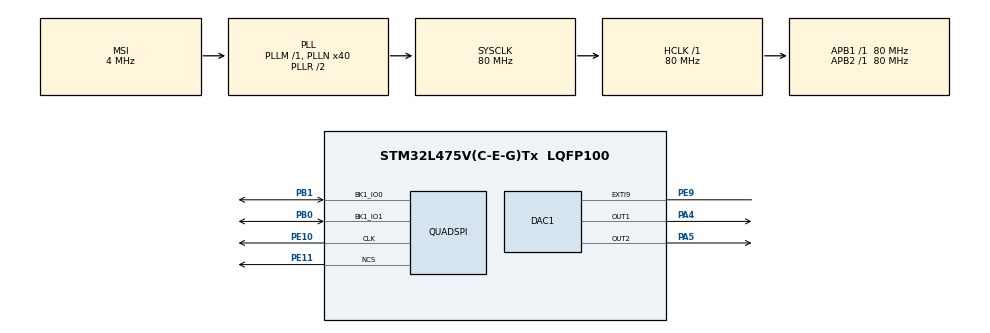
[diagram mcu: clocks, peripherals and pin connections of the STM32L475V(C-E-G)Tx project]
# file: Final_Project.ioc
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DAC1.DAC_Channel-DAC_OUT2_ExtAndInt=DAC_CHANNEL_2
DAC1.DAC_Trigger-DAC_OUT1_ExtAndInt=DAC_TRIGGER_T6_TRGO
DAC1.DAC_Trigger-DAC_OUT2_ExtAndInt=DAC_TRIGGER_T6_TRGO
Dma.DAC_CH1.0.Direction=DMA_MEMORY_TO_PERIPH
Dma.DAC_CH1.0.Instance=DMA1_Channel3
Dma.DAC_CH1.0.MemDataAlignment=DMA_MDATAALIGN_HALFWORD
Dma.DAC_CH1.0.MemInc=DMA_MINC_ENABLE
Dma.DAC_CH1.0.Mode=DMA_CIRCULAR
Dma.DAC_CH1.0.PeriphDataAlignment=DMA_PDATAALIGN_HALFWORD
Dma.DAC_CH1.0.PeriphInc=DMA_PINC_DISABLE
Dma.DAC_CH1.0.Priority=DMA_PRIORITY_LOW
Dma.DAC_CH2.1.Direction=DMA_MEMORY_TO_PERIPH
Dma.DAC_CH2.1.Instance=DMA1_Channel4
Dma.DAC_CH2.1.MemDataAlignment=DMA_MDATAALIGN_HALFWORD
Dma.DAC_CH2.1.MemInc=DMA_MINC_ENABLE
Dma.DAC_CH2.1.Mode=DMA_CIRCULAR
Dma.DAC_CH2.1.PeriphDataAlignment=DMA_PDATAALIGN_HALFWORD
Dma.DAC_CH2.1.PeriphInc=DMA_PINC_DISABLE
Dma.DAC_CH2.1.Priority=DMA_PRIORITY_LOW
Dma.QUADSPI.2.Direction=DMA_PERIPH_TO_MEMORY
Dma.QUADSPI.2.Instance=DMA1_Channel5
Dma.QUADSPI.2.MemDataAlignment=DMA_MDATAALIGN_WORD
Dma.QUADSPI.2.MemInc=DMA_MINC_ENABLE
Dma.QUADSPI.2.Mode=DMA_NORMAL
Dma.QUADSPI.2.PeriphDataAlignment=DMA_PDATAALIGN_WORD
Dma.QUADSPI.2.PeriphInc=DMA_PINC_DISABLE
Dma.QUADSPI.2.Priority=DMA_PRIORITY_LOW
Dma.Request0=DAC_CH1
Dma.Request1=DAC_CH2
Dma.Request2=QUADSPI
Mcu.Family=STM32L4
Mcu.Name=STM32L475V(C-E-G)Tx
Mcu.Package=LQFP100
NVIC.DMA1_Channel3_IRQn=true\:0\:0\:false\:false\:true\:false\:true
NVIC.DMA1_Channel4_IRQn=true\:0\:0\:false\:false\:true\:false\:true
NVIC.DMA1_Channel5_IRQn=true\:0\:0\:false\:false\:true\:false\:true
NVIC.EXTI9_5_IRQn=true\:0\:0\:false\:false\:true\:true\:true
NVIC.PriorityGroup=NVIC_PRIORITYGROUP_4
NVIC.QUADSPI_IRQn=true\:0\:0\:false\:false\:true\:true\:true
NVIC.TIM6_DAC_IRQn=true\:0\:0\:false\:false\:true\:true\:true
PA4.Signal=COMP_DAC11_group
PA5.Signal=COMP_DAC12_group
PB0.Mode=Single Bank 2IOs
PB0.Signal=QUADSPI_BK1_IO1
PB1.Mode=Single Bank 2IOs
PB1.Signal=QUADSPI_BK1_IO0
PE10.Mode=Single Bank 2IOs
PE10.Signal=QUADSPI_CLK
PE11.Mode=Single Bank 2IOs
PE11.Signal=QUADSPI_NCS
PE9.Signal=GPXTI9
ProjectManager.HeapSize=0x200
ProjectManager.StackSize=0x400
ProjectManager.TargetToolchain=MDK-ARM V5
QUADSPI.ClockPrescaler-Single\ Bank\ 2IOs=0
QUADSPI.FifoThreshold-Single\ Bank\ 2IOs=2
QUADSPI.FlashSize-Single\ Bank\ 2IOs=22
RCC.ADCFreq_Value=16000000
RCC.AHBFreq_Value=80000000
RCC.APB1Freq_Value=80000000
RCC.APB1TimFreq_Value=80000000
RCC.APB2Freq_Value=80000000
RCC.APB2TimFreq_Value=80000000
RCC.CortexFreq_Value=80000000
RCC.HCLKFreq_Value=80000000
RCC.HSE_VALUE=8000000
RCC.HSI_VALUE=16000000
RCC.LSE_VALUE=32768
RCC.MSI_VALUE=4000000
RCC.PLLN=40
RCC.SYSCLKFreq_VALUE=80000000
RCC.SYSCLKSource=RCC_SYSCLKSOURCE_PLLCLK
RCC.USBFreq_Value=16000000
RCC.VCOOutputFreq_Value=160000000
SH.COMP_DAC11_group.0=DAC1_OUT1,DAC_OUT1_ExtAndInt
SH.COMP_DAC12_group.0=DAC1_OUT2,DAC_OUT2_ExtAndInt
TIM6.Period=5000
TIM6.TIM_MasterOutputTrigger=TIM_TRGO_UPDATE
VP_TIM6_VS_ClockSourceINT.Mode=Enable_Timer
board=custom

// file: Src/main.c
/* USER CODE BEGIN Header */
/**
  ******************************************************************************
  * @file           : main.c
  * @brief          : Main program body
  ******************************************************************************
  * @attention
  *
  * <h2><center>&copy; Copyright (c) 2019 STMicroelectronics.
  * All rights reserved.</center></h2>
  *
  * This software component is licensed by ST under BSD 3-Clause license,
  * the "License"; You may not use this file except in compliance with the
  * License. You may obtain a copy of the License at:
  *                        opensource.org/licenses/BSD-3-Clause
  *
  ******************************************************************************
  */
/* USER CODE END Header */

#include "main.h"

/* USER CODE BEGIN Includes */

#include "stm32l475e_iot01_qspi.h"
#include "arm_math.h"
#include <stdlib.h>
/* USER CODE END Includes */

/* USER CODE BEGIN PD */

int i;

//buffers
uint16_t audioBufferLeft[1000];
uint16_t audioBufferRight[1000];

// ############
// matrices
float matrixBuffer[AUDIO_SAMPLE_SIZE];
arm_matrix_instance_f32 matrix;

float matrix2Buffer[AUDIO_SAMPLE_SIZE];
arm_matrix_instance_f32 matrix2;

float transposeMatrixBuffer[AUDIO_SAMPLE_SIZE];
arm_matrix_instance_f32 transposeMatrix;

float tempCby2MatrixBuffer[AUDIO_SAMPLE_SIZE];
arm_matrix_instance_f32 tempCby2Matrix;

float meanMatrixBuffer[AUDIO_SAMPLE_SIZE];
arm_matrix_instance_f32 meanMatrix;

float whiteMatrixBuffer[AUDIO_SAMPLE_SIZE];
arm_matrix_instance_f32 whiteMatrix;

float singleColMatrixBuffer[ROW_SIZE];
arm_matrix_instance_f32 singleColMatrix;

float singleCol2MatrixBuffer[ROW_SIZE];
arm_matrix_instance_f32 singleCol2Matrix;

float singleCol3MatrixBuffer[ROW_SIZE];
arm_matrix_instance_f32 singleCol3Matrix;

float eigValueMatrixBuffer[4];
arm_matrix_instance_f32 eigValueMatrix;

float temp2by2MatrixBuffer[4];
arm_matrix_instance_f32 temp2by2Matrix;

float icaFilterMatrixBuffer[4];
arm_matrix_instance_f32 icaFilterMatrix;

float eigVectorMatrixBuffer[4];
arm_matrix_instance_f32 eigVectorMatrix;

float whiteningMatrixBuffer[4];
arm_matrix_instance_f32 whiteningMatrix;

float temp2by2TwoMatrixBuffer[4];
arm_matrix_instance_f32 temp2by2TwoMatrix;

float weightMatrixBuffer[2];
arm_matrix_instance_f32 weightMatrix;

float weightSumMatrixBuffer[2];
arm_matrix_instance_f32 weightSumMatrix;

float weightOldMatrixBuffer[2];
arm_matrix_instance_f32 weightOldMatrix;

float temp2by1MatrixBuffer[2];
arm_matrix_instance_f32 temp2by1Matrix;

float secondTemp2by1MatrixBuffer[2];
arm_matrix_instance_f32 secondTemp2by1Matrix;

float thirdTemp2by1MatrixBuffer[2];
arm_matrix_instance_f32 thirdTemp2by1Matrix;

float covarianceMatrixBuffer[4];
arm_matrix_instance_f32 covarianceMatrix;

int read_flash_find_min_max=0;
int read_flash=0;
int rx_cplt=1;
int tx_cplt=1;
int cmd_cplt=1;
int left_qspi=0;
int right_qspi=0;
int get_mean=1;
int flashAddr = 0;

int ica_flag = 1;

float32_t mu1 = 0;
float32_t mu2 = 0;
float maxVal1 = -INFINITY;
float minVal1 = INFINITY;
float maxVal2 = -INFINITY;
float minVal2 = INFINITY;

float mixedMaxVal1 = -INFINITY;
float mixedMinVal1 = INFINITY;
float mixedMaxVal2 = -INFINITY;
float mixedMinVal2 = INFINITY;

/* USER CODE END PD */

DAC_HandleTypeDef hdac1;
DMA_HandleTypeDef hdma_dac_ch1;
DMA_HandleTypeDef hdma_dac_ch2;

QSPI_HandleTypeDef hqspi;
DMA_HandleTypeDef hdma_quadspi;

TIM_HandleTypeDef htim6;

/* USER CODE BEGIN PV */

#define MAX(a,b) (((a)>(b))?(a):(b))
#define EPSILON 0.00000001

/* USER CODE END PV */

void SystemClock_Config(void);
static void MX_GPIO_Init(void);
static void MX_DMA_Init(void);
static void MX_DAC1_Init(void);
static void MX_QUADSPI_Init(void);
static void MX_TIM6_Init(void);

/* USER CODE BEGIN 0 */

void getNorm(float arr[], int size, float* norm) {
	float sum;

	for(int j=0;j<size;j++) {
		sum += arr[j]*arr[j];
	}

	arm_sqrt_f32(sum,norm);

}

// calculate eigenValues and eigenVectors
void calculateEigen() {
	float a = covarianceMatrixBuffer[0];
	float b = covarianceMatrixBuffer[1];
	float c = covarianceMatrixBuffer[2];
	float d = covarianceMatrixBuffer[3];

	// calculate eigen values
	float tr = a+d;
	float tr2 = tr*tr;
	float det = a*d - b*c;

	// find the roots of the matrix
	float root;
	arm_sqrt_f32(tr2 - 4*det,&root);

	float eig1 = (tr + root )/2;
	float eig2 = (tr - root )/2;

	// create eigenValue matrix
	eigValueMatrixBuffer[0] = eig2;
  eigValueMatrixBuffer[1] = 0;
  eigValueMatrixBuffer[2] = 0;
	eigValueMatrixBuffer[3] = eig1;

	// create eigenVector matrix
	eigVectorMatrixBuffer[0] = a - eig1;
  eigVectorMatrixBuffer[1] = b;
	eigVectorMatrixBuffer[2] = c;
	eigVectorMatrixBuffer[3] = d - eig2;

	// normalize first column
	float norm;
	float temp = eigVectorMatrixBuffer[0]*eigVectorMatrixBuffer[0] + eigVectorMatrixBuffer[2]*eigVectorMatrixBuffer[2];
	arm_sqrt_f32(temp, &norm);
	eigVectorMatrixBuffer[0] /= norm;
	eigVectorMatrixBuffer[2] /= norm;
	// normalize second column
	temp = eigVectorMatrixBuffer[1]*eigVectorMatrixBuffer[1] + eigVectorMatrixBuffer[3]*eigVectorMatrixBuffer[3];
	arm_sqrt_f32(temp, &norm);
	eigVectorMatrixBuffer[1] /= norm;
	eigVectorMatrixBuffer[3] /= norm;
}

/* USER CODE END 0 */

int main(void)
{
  /* USER CODE BEGIN 1 */
	QSPI_CommandTypeDef sCommand;

  /* USER CODE END 1 */

  /* MCU Configuration--------------------------------------------------------*/

  /* Reset of all peripherals, Initializes the Flash interface and the Systick. */
  HAL_Init();

  /* Configure the system clock */
  SystemClock_Config();

  /* Initialize all configured peripherals */
  MX_GPIO_Init();
  MX_DMA_Init();
  MX_DAC1_Init();
  MX_QUADSPI_Init();
  MX_TIM6_Init();
  /* USER CODE BEGIN 2 */

	HAL_TIM_Base_Start(&htim6);

	BSP_QSPI_Init();
	int reload=1;	//set reload to 0 to save time if flash memory is already filled

	if(reload)BSP_QSPI_Erase_Chip(); // this can take like 30 seconds.

	// matrix coefficients
	int a11 = 1;
	int a12 = 2;
	int a21 = 3;
	int a22 = 4;
	float32_t angle1,angle2;
	float32_t sinOne,sinTwo;

	// create mixed signal and transfer over to flash
	if(reload)
	for(i=0;i<32000;i++) {
		if (!((i+1)%(ROW_SIZE))) {
			BSP_QSPI_Write((uint8_t*) matrixBuffer,flashAddr,AUDIO_SAMPLE_SIZE_FLOAT); // write 2000 bytes at a time
			flashAddr += AUDIO_SAMPLE_SIZE_FLOAT;
		}
		// 400 and 700 hz frequency spread over 16000 samples per second for two seconds
		angle1 = TWO_PI_DIVIDED_BY_16000*((400*i)%16000);
		angle2 = TWO_PI_DIVIDED_BY_16000*((700*i)%16000);
		sinOne = arm_sin_f32(angle1); // EVEN FLASH ADDR IS THE FIRST SIGNAL
		sinTwo = arm_sin_f32(angle2); // ODD FLASH ADDR IS THE SECOND SIGNAL
		matrixBuffer[(2*i)%AUDIO_SAMPLE_SIZE] = (a11*sinOne + a12*sinTwo); // combine and normalize between 0 and 1
		matrixBuffer[(2*i+1)%AUDIO_SAMPLE_SIZE] = (a21*sinOne + a22*sinTwo);
	}

	// this is here to demonstrate that buffers are cleared and it is really reading from flash
	for(i=0;i<AUDIO_SAMPLE_SIZE;i++) {
		matrixBuffer[i] = 0;
	}

	// reset the read addr from flash
	flashAddr = 0;

	// get the mean
	while (flashAddr < AUDIO_STORAGE_SIZE) {
		BSP_QSPI_Read((uint8_t *) matrixBuffer,flashAddr,AUDIO_SAMPLE_SIZE_FLOAT);
		flashAddr += AUDIO_SAMPLE_SIZE_FLOAT;

	for(int j=0;j<AUDIO_SAMPLE_SIZE;j++) {
			if (j%2) {
				mu1 += matrixBuffer[j];
			}
			else {
				mu2 += matrixBuffer[j];
			}
		}
	}
	mu1 /= AUDIO_TWO_SECONDS; // This single division is surely faster than calling CMSIS for mean after using processor for QSPI
	mu2 /= AUDIO_TWO_SECONDS;

	// mean matrix is 32000 by 2, even indices are first column, odd indices are second column.
	for(i=0;i<AUDIO_SAMPLE_SIZE;i++){
		if (i%2) {
			meanMatrixBuffer[i] = mu1; // init the meanMatrixBuffer with the means calculated
		}
		else {
			meanMatrixBuffer[i] = mu2;
		}
	}

	// IMPORTANT TO KNOW: In flash, it's stored as a 32000x2 matrix, meaning it goes sig1, sig2, sig1, sig2. Every 2 values is a row. This is so that when we read from flash
	// we get both signals. Otherwise, we'd only get the first signal from a single read and would need to do 2 reads every time we processed info because they'd be in different
	// places in flash, and we'd also have to keep track of these indices which would be complicated.

	arm_mat_init_f32(&matrix, ROW_SIZE, 2, matrixBuffer); // ROW_SIZE x 2
	arm_mat_init_f32(&matrix2, ROW_SIZE, 2, matrix2Buffer); // ROW_SIZE x 2
	arm_mat_init_f32(&transposeMatrix, 2, ROW_SIZE, transposeMatrixBuffer); // 2 x ROW_SIZE
	arm_mat_init_f32(&meanMatrix, ROW_SIZE, 2, meanMatrixBuffer); // to be subtracted from "matrix" to centralize it.
	arm_mat_init_f32(&covarianceMatrix, 2, 2, covarianceMatrixBuffer);
	arm_mat_init_f32(&eigValueMatrix, 2, 2, eigValueMatrixBuffer);
	arm_mat_init_f32(&eigVectorMatrix, 2, 2, eigVectorMatrixBuffer);
	arm_mat_init_f32(&whiteningMatrix, 2, 2, whiteningMatrixBuffer);
	arm_mat_init_f32(&weightMatrix, 2, 1, weightMatrixBuffer);
	arm_mat_init_f32(&weightOldMatrix, 2, 1, weightOldMatrixBuffer);
	arm_mat_init_f32(&temp2by1Matrix,2,1,temp2by1MatrixBuffer);
	arm_mat_init_f32(&secondTemp2by1Matrix,2,1,secondTemp2by1MatrixBuffer);
	arm_mat_init_f32(&thirdTemp2by1Matrix,2,1,thirdTemp2by1MatrixBuffer);
	arm_mat_init_f32(&whiteMatrix,2,ROW_SIZE,whiteMatrixBuffer);
	arm_mat_init_f32(&singleColMatrix,ROW_SIZE,1,singleColMatrixBuffer); // ROW_SIZE x 1
	arm_mat_init_f32(&singleCol2Matrix,ROW_SIZE,1,singleCol2MatrixBuffer); // ROW_SIZE x 1
	arm_mat_init_f32(&singleCol3Matrix,ROW_SIZE,1,singleCol3MatrixBuffer); // ROW_SIZE x 1
	arm_mat_init_f32(&temp2by2Matrix,2,2,temp2by2MatrixBuffer); // 2x2
	arm_mat_init_f32(&temp2by2TwoMatrix,2,2,temp2by2TwoMatrixBuffer); // 2x2
	arm_mat_init_f32(&tempCby2Matrix,ROW_SIZE,2,tempCby2MatrixBuffer); // 2x2
	arm_mat_init_f32(&icaFilterMatrix,2,2,icaFilterMatrixBuffer); // 2x2

	flashAddr = 0; // reset the read addr from flash
	while (flashAddr < AUDIO_STORAGE_SIZE) {
		BSP_QSPI_Read((uint8_t *) matrixBuffer,flashAddr,AUDIO_SAMPLE_SIZE_FLOAT); //read 2000 samples
		flashAddr += AUDIO_SAMPLE_SIZE_FLOAT;

		for(i=0;i<AUDIO_SAMPLE_SIZE;i++) {
			if (i%2) {
				if(matrixBuffer[i] > mixedMaxVal1) mixedMaxVal1 = matrixBuffer[i];
				if(matrixBuffer[i] < mixedMinVal1) mixedMinVal1 = matrixBuffer[i];
			}
			else {
				if(matrixBuffer[i] > mixedMaxVal2) mixedMaxVal2 = matrixBuffer[i];
				if(matrixBuffer[i] < mixedMinVal1) mixedMinVal1 = matrixBuffer[i];
			}
		}

		// calculate the covariance matrix for this chunk
		arm_mat_sub_f32(&matrix,&meanMatrix,&tempCby2Matrix); // centralize matrix (need to store in temp because we can't write where we read from)
		arm_mat_trans_f32(&tempCby2Matrix, &transposeMatrix); // fills transpose matrix with transpose (2xROW_SIZE)
		// eigValueMatrix and eigVectorMatrix are both used as temporary buffers for now, until eigenvectors are calculated
		arm_mat_mult_f32(&transposeMatrix, &tempCby2Matrix,&eigValueMatrix); // multiply transpose matrix with centralized input matrix -> 2xROW_SIZE x ROW_SIZEx2 ~ 2x2
		arm_mat_add_f32(&eigValueMatrix, &covarianceMatrix,&eigVectorMatrix); // add partial sum to total
		for(i=0;i<4;i++) { covarianceMatrixBuffer[i] = eigVectorMatrixBuffer[i]; } // store total in covarianceMatrix (this may be unnecessary or can be optimized to use different buffer every time to eliminate copying)
	}

	arm_mat_scale_f32(&covarianceMatrix,ONE_OVER_AUDIO_TWO_SECONDS_FLOAT,&covarianceMatrix); // divide by N to get covariance

	calculateEigen();

	// get the whitening matrix

	// take the square root of the eigenvalues
	arm_sqrt_f32(eigValueMatrixBuffer[0],&whiteningMatrixBuffer[0]);
	whiteningMatrixBuffer[1] = 0;
	arm_sqrt_f32(eigValueMatrixBuffer[3],&whiteningMatrixBuffer[3]);
	whiteningMatrixBuffer[2] = 0;
	arm_mat_inverse_f32(&whiteningMatrix,&temp2by2Matrix); // store inverse of root eigenvalue matrix in temp
	arm_mat_trans_f32(&eigVectorMatrix,&temp2by2TwoMatrix); // store transpose of eigenvector matrix in temp2
	arm_mat_mult_f32(&temp2by2Matrix, &temp2by2TwoMatrix, &whiteningMatrix);

	float norm;

  temp2by1MatrixBuffer[0] = 0.8; // use small values for initial weight
  temp2by1MatrixBuffer[1] = 1.3;
	getNorm(temp2by1MatrixBuffer,2,&norm);
	arm_mat_scale_f32(&temp2by1Matrix,(1/norm),&weightMatrix); // normalize the weight matrix
	weightOldMatrixBuffer[0] = 0; //init oldWeight to 0
	weightOldMatrixBuffer[1] = 0;

	for(i=0;i<1000;i++) {
		// test for convergence
		arm_sub_f32(weightMatrixBuffer,weightOldMatrixBuffer,temp2by1MatrixBuffer,2);
		getNorm(temp2by1MatrixBuffer,2,&norm);
		if(norm < EPSILON) {
			break;
		}
		arm_add_f32(weightMatrixBuffer,weightOldMatrixBuffer,temp2by1MatrixBuffer,2);
		getNorm(temp2by1MatrixBuffer,2,&norm);
		if(norm < EPSILON) {
			break;
		}

		weightSumMatrixBuffer[0] = 0;
		weightSumMatrixBuffer[1] = 0;
		// store the weight into oldWeight
		weightOldMatrixBuffer[0] = weightMatrixBuffer[0]; // store old weight
		weightOldMatrixBuffer[1] = weightMatrixBuffer[1];

		flashAddr=0;
		// update the weight chunk by chunk
		while (flashAddr < 256000) {
			BSP_QSPI_Read( (uint8_t *) matrixBuffer, flashAddr, 8000);
			flashAddr += 8000;

			// white_mat = center_mat' * whitening_mat
			// in the case that DMA finishes before calculations are all done, never use "matrix" after we have matrix2, which is the centralized matrix
			arm_mat_sub_f32(&matrix,&meanMatrix,&matrix2); // centralize matrix, matrix2=center_mat' (need to store in temp because we can't write where we read from)
			arm_mat_trans_f32(&matrix2,&transposeMatrix); // need to take transpose so that it's the same dimensions as jerry's
			arm_mat_mult_f32(&whiteningMatrix,&transposeMatrix,&whiteMatrix); // 2 x C
			arm_mat_trans_f32(&whiteMatrix,&tempCby2Matrix); // C x 2
			arm_mat_mult_f32(&tempCby2Matrix,&weightMatrix,&singleColMatrix); // white_mat.T * weight ~ Nx1
			arm_mat_mult_f32(&tempCby2Matrix,&weightMatrix,&singleCol3Matrix);
			// take result to the third power
			arm_mult_f32(singleCol3MatrixBuffer,singleColMatrixBuffer,singleCol2MatrixBuffer, 1000);
			arm_mult_f32(singleColMatrixBuffer,singleCol2MatrixBuffer,singleCol3MatrixBuffer, 1000);

			arm_mat_mult_f32(&whiteMatrix,&singleCol3Matrix, &temp2by1Matrix); // 2xC * Cx1 ~ 2x1

			arm_scale_f32(temp2by1MatrixBuffer,ONE_OVER_TOTAL_SAMPLE_SIZE,secondTemp2by1MatrixBuffer,2); // divide by num_samples
			arm_add_f32(secondTemp2by1MatrixBuffer,weightSumMatrixBuffer, thirdTemp2by1MatrixBuffer, 2); // add chunk to total (can't write to weightMatrixBuffer directly since we are reading from there)
			for(int j=0;j<2;j++) { weightSumMatrixBuffer[j] = thirdTemp2by1MatrixBuffer[j]; } // store total in weightMatrixBuffer
		}
		// normalize the weight
			arm_scale_f32(weightMatrixBuffer,3,temp2by1MatrixBuffer,2); // 3*weight
			arm_sub_f32(weightSumMatrixBuffer,temp2by1MatrixBuffer,thirdTemp2by1MatrixBuffer,2); // subtract 3*weight
			getNorm(thirdTemp2by1MatrixBuffer,2,&norm);
			arm_scale_f32(thirdTemp2by1MatrixBuffer,(1/norm),weightMatrixBuffer,2);
	}

	// create basis set transpose after weights have converged
	// if weight matrix is [a;b] then basis set is [a -b; b a], and basis set transpose is therefore [a b; -b a]
	temp2by2MatrixBuffer[0] = weightMatrixBuffer[0];
	temp2by2MatrixBuffer[1] = weightMatrixBuffer[1];
	temp2by2MatrixBuffer[2] = -weightMatrixBuffer[1];
	temp2by2MatrixBuffer[3] = weightMatrixBuffer[0];

	//store icaFilterMatrix
	arm_mat_mult_f32(&temp2by2Matrix,&whiteningMatrix,&icaFilterMatrix);

	// change dimensions of whiteMatrix matrix for DAC output
	arm_mat_init_f32(&whiteMatrix, 2, ROW_SIZE, whiteMatrixBuffer);

	flashAddr=0;
	while (flashAddr < 256000) {
		BSP_QSPI_Read( (uint8_t *) matrixBuffer,flashAddr,2000); // read next 2000 samples
		flashAddr += AUDIO_SAMPLE_SIZE_FLOAT;
		arm_mat_trans_f32(&matrix, &transposeMatrix); // fills transposeMatrix with transpose of matrix. Need to do this because stored as transpose in memory
		arm_mat_mult_f32(&icaFilterMatrix,&transposeMatrix,&whiteMatrix); // store result of filtering in whiteMatrix which is 2xROW_SIZE
		for(i=0;i<AUDIO_SAMPLE_SIZE;i++) {
			if (i%2) {
				if(whiteMatrixBuffer[i] > maxVal1) maxVal1 = whiteMatrixBuffer[i];
				if(whiteMatrixBuffer[i] < minVal1) minVal1 = whiteMatrixBuffer[i];
			}
			else {
				if(whiteMatrixBuffer[i] > maxVal2) maxVal2 = whiteMatrixBuffer[i];
				if(whiteMatrixBuffer[i] < minVal2) minVal2 = whiteMatrixBuffer[i];
			}
		}
	}
	// take off offset from maxVal
	maxVal1 -= minVal1;
	maxVal2 -= minVal2;
	mixedMaxVal1 -= mixedMinVal1;
	mixedMaxVal2 -= mixedMinVal2;

	flashAddr=0;
	BSP_QSPI_Read((uint8_t *) matrixBuffer,flashAddr,AUDIO_SAMPLE_SIZE_FLOAT); // read next 2000 samples
	flashAddr += AUDIO_SAMPLE_SIZE_FLOAT;

	// start DMA transfer to DAC
	HAL_DAC_Start_DMA(&hdac1, DAC_CHANNEL_1,(uint32_t*)audioBufferLeft,1000, DAC_ALIGN_12B_R);
	HAL_DAC_Start_DMA(&hdac1, DAC_CHANNEL_2,(uint32_t*)audioBufferRight,1000, DAC_ALIGN_12B_R);

  /* USER CODE END 2 */

  /* Infinite loop */
  while (1)
  {

  }
}

void SystemClock_Config(void)
{
  RCC_OscInitTypeDef RCC_OscInitStruct = {0};
  RCC_ClkInitTypeDef RCC_ClkInitStruct = {0};

  /** Initializes the CPU, AHB and APB busses clocks
  */
  RCC_OscInitStruct.OscillatorType = RCC_OSCILLATORTYPE_MSI;
  RCC_OscInitStruct.MSIState = RCC_MSI_ON;
  RCC_OscInitStruct.MSICalibrationValue = 0;
  RCC_OscInitStruct.MSIClockRange = RCC_MSIRANGE_6;
  RCC_OscInitStruct.PLL.PLLState = RCC_PLL_ON;
  RCC_OscInitStruct.PLL.PLLSource = RCC_PLLSOURCE_MSI;
  RCC_OscInitStruct.PLL.PLLM = 1;
  RCC_OscInitStruct.PLL.PLLN = 40;
  RCC_OscInitStruct.PLL.PLLP = RCC_PLLP_DIV7;
  RCC_OscInitStruct.PLL.PLLQ = RCC_PLLQ_DIV2;
  RCC_OscInitStruct.PLL.PLLR = RCC_PLLR_DIV2;
  if (HAL_RCC_OscConfig(&RCC_OscInitStruct) != HAL_OK)
  {
    Error_Handler();
  }
  /** Initializes the CPU, AHB and APB busses clocks
  */
  RCC_ClkInitStruct.ClockType = RCC_CLOCKTYPE_HCLK|RCC_CLOCKTYPE_SYSCLK
                              |RCC_CLOCKTYPE_PCLK1|RCC_CLOCKTYPE_PCLK2;
  RCC_ClkInitStruct.SYSCLKSource = RCC_SYSCLKSOURCE_PLLCLK;
  RCC_ClkInitStruct.AHBCLKDivider = RCC_SYSCLK_DIV1;
  RCC_ClkInitStruct.APB1CLKDivider = RCC_HCLK_DIV1;
  RCC_ClkInitStruct.APB2CLKDivider = RCC_HCLK_DIV1;

  if (HAL_RCC_ClockConfig(&RCC_ClkInitStruct, FLASH_LATENCY_4) != HAL_OK)
  {
    Error_Handler();
  }
  /** Configure the main internal regulator output voltage
  */
  if (HAL_PWREx_ControlVoltageScaling(PWR_REGULATOR_VOLTAGE_SCALE1) != HAL_OK)
  {
    Error_Handler();
  }
}

static void MX_DAC1_Init(void)
{

  DAC_ChannelConfTypeDef sConfig = {0};

  /** DAC Initialization
  */
  hdac1.Instance = DAC1;
  if (HAL_DAC_Init(&hdac1) != HAL_OK)
  {
    Error_Handler();
  }
  /** DAC channel OUT1 config
  */
  sConfig.DAC_SampleAndHold = DAC_SAMPLEANDHOLD_DISABLE;
  sConfig.DAC_Trigger = DAC_TRIGGER_T6_TRGO;
  sConfig.DAC_OutputBuffer = DAC_OUTPUTBUFFER_ENABLE;
  sConfig.DAC_ConnectOnChipPeripheral = DAC_CHIPCONNECT_ENABLE;
  sConfig.DAC_UserTrimming = DAC_TRIMMING_FACTORY;
  if (HAL_DAC_ConfigChannel(&hdac1, &sConfig, DAC_CHANNEL_1) != HAL_OK)
  {
    Error_Handler();
  }
  /** DAC channel OUT2 config
  */
  sConfig.DAC_ConnectOnChipPeripheral = DAC_CHIPCONNECT_ENABLE;
  if (HAL_DAC_ConfigChannel(&hdac1, &sConfig, DAC_CHANNEL_2) != HAL_OK)
  {
    Error_Handler();
  }

}

static void MX_QUADSPI_Init(void)
{

  /* USER CODE BEGIN QUADSPI_Init 0 */
	HAL_QSPI_DeInit(&hqspi);

  /* USER CODE END QUADSPI_Init 0 */

  /* QUADSPI parameter configuration*/
  hqspi.Instance = QUADSPI;
  hqspi.Init.ClockPrescaler = 0;
  hqspi.Init.FifoThreshold = 2;
  hqspi.Init.SampleShifting = QSPI_SAMPLE_SHIFTING_NONE;
  hqspi.Init.FlashSize = 22;
  hqspi.Init.ChipSelectHighTime = QSPI_CS_HIGH_TIME_1_CYCLE;
  hqspi.Init.ClockMode = QSPI_CLOCK_MODE_0;
  if (HAL_QSPI_Init(&hqspi) != HAL_OK)
  {
    Error_Handler();
  }

}

static void MX_TIM6_Init(void)
{

  TIM_MasterConfigTypeDef sMasterConfig = {0};

  htim6.Instance = TIM6;
  htim6.Init.Prescaler = 0;
  htim6.Init.CounterMode = TIM_COUNTERMODE_UP;
  htim6.Init.Period = 5000;
  htim6.Init.AutoReloadPreload = TIM_AUTORELOAD_PRELOAD_DISABLE;
  if (HAL_TIM_Base_Init(&htim6) != HAL_OK)
  {
    Error_Handler();
  }
  sMasterConfig.MasterOutputTrigger = TIM_TRGO_UPDATE;
  sMasterConfig.MasterSlaveMode = TIM_MASTERSLAVEMODE_DISABLE;
  if (HAL_TIMEx_MasterConfigSynchronization(&htim6, &sMasterConfig) != HAL_OK)
  {
    Error_Handler();
  }

}

static void MX_DMA_Init(void)
{
  /* DMA controller clock enable */
  __HAL_RCC_DMA1_CLK_ENABLE();

  /* DMA interrupt init */
  /* DMA1_Channel3_IRQn interrupt configuration */
  HAL_NVIC_SetPriority(DMA1_Channel3_IRQn, 0, 0);
  HAL_NVIC_EnableIRQ(DMA1_Channel3_IRQn);
  /* DMA1_Channel4_IRQn interrupt configuration */
  HAL_NVIC_SetPriority(DMA1_Channel4_IRQn, 0, 0);
  HAL_NVIC_EnableIRQ(DMA1_Channel4_IRQn);
  /* DMA1_Channel5_IRQn interrupt configuration */
  HAL_NVIC_SetPriority(DMA1_Channel5_IRQn, 0, 0);
  HAL_NVIC_EnableIRQ(DMA1_Channel5_IRQn);

}

static void MX_GPIO_Init(void)
{
  GPIO_InitTypeDef GPIO_InitStruct = {0};

  /* GPIO Ports Clock Enable */
  __HAL_RCC_GPIOA_CLK_ENABLE();
  __HAL_RCC_GPIOB_CLK_ENABLE();
  __HAL_RCC_GPIOE_CLK_ENABLE();

  /*Configure GPIO pin : PE9 */
  GPIO_InitStruct.Pin = GPIO_PIN_9;
  GPIO_InitStruct.Mode = GPIO_MODE_IT_RISING;
  GPIO_InitStruct.Pull = GPIO_NOPULL;
  HAL_GPIO_Init(GPIOE, &GPIO_InitStruct);

  /* EXTI interrupt init*/
  HAL_NVIC_SetPriority(EXTI9_5_IRQn, 0, 0);
  HAL_NVIC_EnableIRQ(EXTI9_5_IRQn);

}

void Error_Handler(void)
{
  /* USER CODE BEGIN Error_Handler_Debug */
  /* User can add his own implementation to report the HAL error return state */

	while(1);
  /* USER CODE END Error_Handler_Debug */
}

/************************ (C) COPYRIGHT STMicroelectronics *****END OF FILE****/
